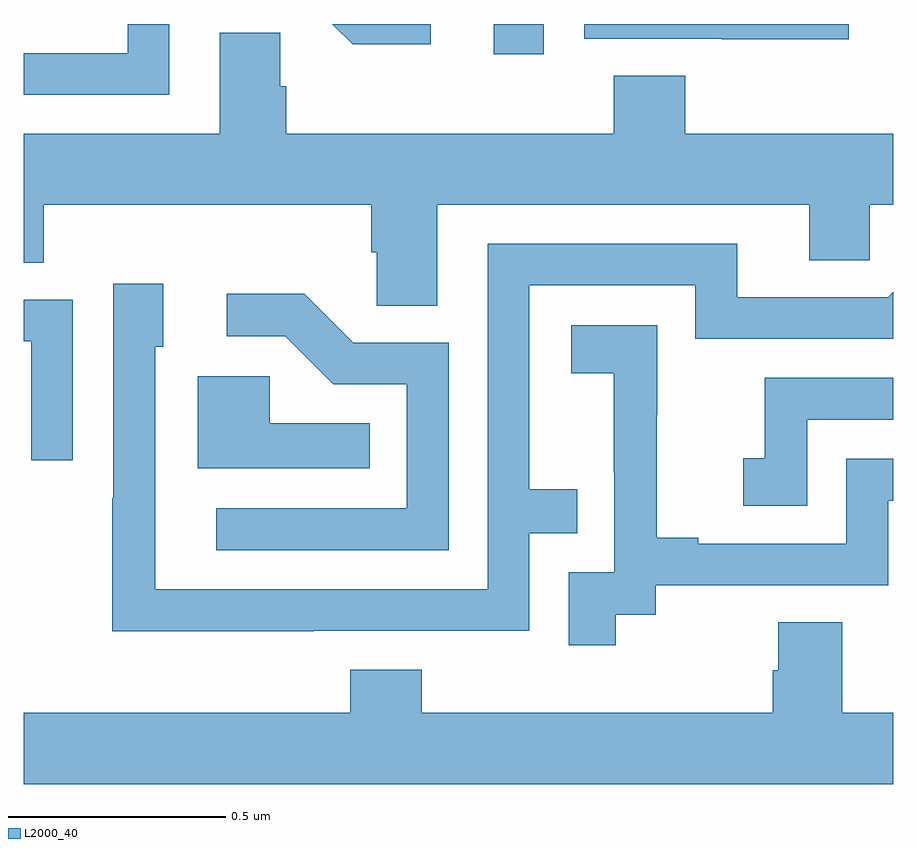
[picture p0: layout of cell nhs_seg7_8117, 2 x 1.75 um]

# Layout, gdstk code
import gdstk
lib = gdstk.Library(unit=1e-6, precision=1e-09)
def R(c, l, rs):  # rectangles x0, y0, x1, y1
    for r in rs: c.add(gdstk.rectangle(r[:2], r[2:], *l))
def P(c, l, *ps):  # polygons
    for p in ps: c.add(gdstk.Polygon(p, *l))
L2000_40 = (2000, 40)

nhs_seg7_8117 = lib.new_cell('nhs_seg7_8117')
R(nhs_seg7_8117, L2000_40, [(221.081,1032.93,221.196,1033)])
P(nhs_seg7_8117, L2000_40, [(220.936,1033),(220.71,1033),(220.757,1032.953),(220.936,1032.953)],
  [(220.335,1033),(220.239,1033),(220.239,1032.933),(220,1032.933),(220,1032.837),(220.335,1032.837)],
  [(221.897,1033),(221.289,1033),(221.289,1032.966),(221.605,1032.966),(221.605,1032.965),(221.897,1032.965)],
  [(220.951,1032.584),(221.807,1032.584),(221.807,1032.457),(221.946,1032.457),(221.946,1032.584),(222,1032.584),(222,1032.748),(221.522,1032.748),(221.522,1032.881),(221.357,1032.881),(221.357,1032.748),(220.604,1032.748),(220.604,1032.857),(220.59,1032.857),(220.59,1032.98),(220.451,1032.98),(220.451,1032.748),(220,1032.748),(220,1032.451),(220.046,1032.451),(220.046,1032.584),(220.799,1032.584),(220.799,1032.475),(220.812,1032.475),(220.812,1032.352),(220.951,1032.352)],
  [(220.667,1031.604),(221.163,1031.604),(221.163,1031.829),(221.273,1031.829),(221.273,1031.93),(221.163,1031.93),(221.163,1032.399),(221.544,1032.399),(221.544,1032.276),(222,1032.276),(222,1032.384),(221.988,1032.372),(221.641,1032.372),(221.641,1032.495),(221.067,1032.495),(221.067,1031.7),(220.303,1031.7),(220.303,1031.933),(220.302,1031.933),(220.302,1032.258),(220.321,1032.258),(220.321,1032.403),(220.206,1032.403),(220.206,1031.909),(220.204,1031.909),(220.204,1031.603),(220.667,1031.603)],
  [(220.977,1032.267),(220.758,1032.267),(220.645,1032.38),(220.467,1032.38),(220.467,1032.282),(220.601,1032.282),(220.712,1032.171),(220.881,1032.171),(220.881,1031.886),(220.443,1031.886),(220.443,1031.79),(220.977,1031.79)],
  [(220.113,1032.366),(220,1032.366),(220,1032.27),(220.017,1032.27),(220.017,1031.997),(220.113,1031.997)],
  [(221.362,1031.641),(221.454,1031.641),(221.454,1031.709),(221.988,1031.709),(221.988,1031.904),(222,1031.904),(222,1032),(221.892,1032),(221.892,1031.805),(221.551,1031.805),(221.551,1031.818),(221.456,1031.818),(221.456,1032.101),(221.457,1032.101),(221.457,1032.307),(221.259,1032.307),(221.259,1032.197),(221.357,1032.197),(221.357,1031.969),(221.358,1031.969),(221.358,1031.739),(221.253,1031.739),(221.253,1031.571),(221.362,1031.571)],
  [(220.796,1032.082),(220.566,1032.082),(220.566,1032.19),(220.4,1032.19),(220.4,1031.978),(220.796,1031.978)],
  [(221.802,1032.09),(222,1032.09),(222,1032.186),(221.704,1032.186),(221.704,1032.001),(221.655,1032.001),(221.655,1031.892),(221.802,1031.892)],
  [(222,1031.416),(221.883,1031.416),(221.883,1031.624),(221.735,1031.624),(221.735,1031.514),(221.723,1031.514),(221.723,1031.416),(220.916,1031.416),(220.916,1031.515),(220.751,1031.515),(220.751,1031.416),(220,1031.416),(220,1031.252),(222,1031.252)])

lib.write_gds('nhs_seg7_8117.gds')
